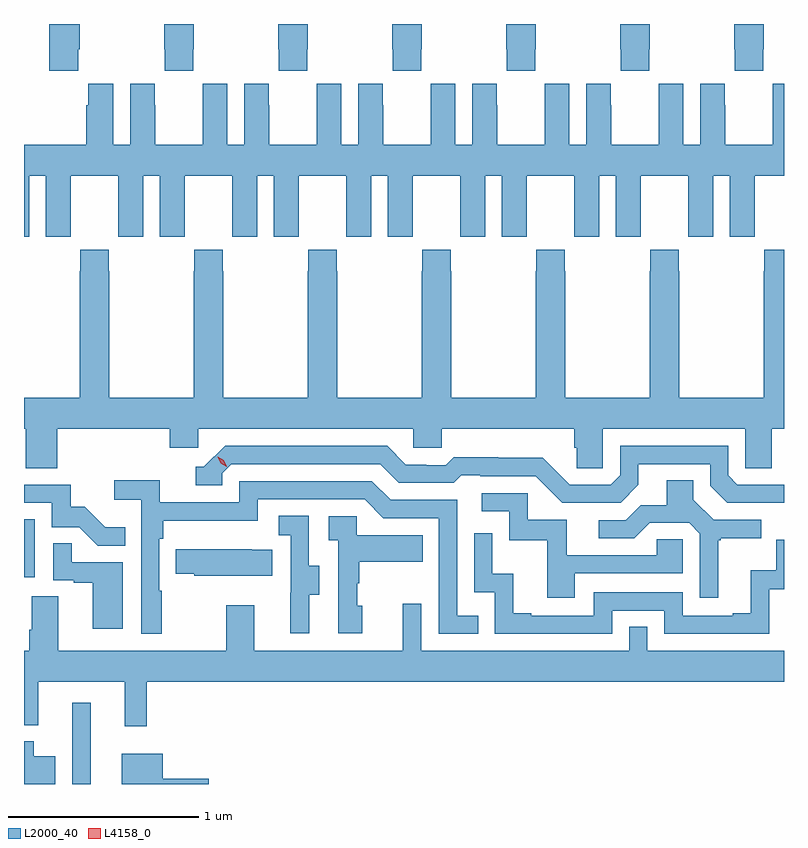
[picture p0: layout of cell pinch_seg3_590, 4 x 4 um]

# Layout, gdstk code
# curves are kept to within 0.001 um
import gdstk
lib = gdstk.Library(unit=1e-6, precision=1e-09)
def R(c, l, rs):  # rectangles x0, y0, x1, y1
    for r in rs: c.add(gdstk.rectangle(r[:2], r[2:], *l))
def P(c, l, *ps):  # polygons
    for p in ps: c.add(gdstk.Polygon(p, *l))
L2000_40 = (2000, 40)
L4158_0 = (4158, 0)

pinch_seg3_590 = lib.new_cell('pinch_seg3_590')
R(pinch_seg3_590, L2000_40, [(1077.435,691.055,1077.532,691.483), (1077.181,692.142,1077.238,692.449)])
P(pinch_seg3_590, L2000_40, [(1081.071,694.921),(1081.074,694.921),(1081.074,695.055),(1080.919,695.055),(1080.919,694.921),(1080.921,694.921),(1080.921,694.809),(1081.071,694.809)],
  [(1080.471,694.921),(1080.474,694.921),(1080.474,695.055),(1080.319,695.055),(1080.319,694.921),(1080.321,694.921),(1080.321,694.809),(1080.471,694.809)],
  [(1079.871,694.921),(1079.874,694.921),(1079.874,695.055),(1079.719,695.055),(1079.719,694.921),(1079.721,694.921),(1079.721,694.809),(1079.871,694.809)],
  [(1079.271,694.921),(1079.274,694.921),(1079.274,695.055),(1079.119,695.055),(1079.119,694.921),(1079.121,694.921),(1079.121,694.809),(1079.271,694.809)],
  [(1078.671,694.921),(1078.674,694.921),(1078.674,695.055),(1078.519,695.055),(1078.519,694.921),(1078.521,694.921),(1078.521,694.809),(1078.671,694.809)],
  [(1078.071,694.921),(1078.074,694.921),(1078.074,695.055),(1077.919,695.055),(1077.919,694.921),(1077.921,694.921),(1077.921,694.809),(1078.071,694.809)],
  [(1077.467,694.921),(1077.474,694.921),(1077.474,695.055),(1077.314,695.055),(1077.314,694.809),(1077.467,694.809)],
  [(1077.181,693.936),(1077.208,693.936),(1077.208,694.256),(1077.296,694.256),(1077.296,693.936),(1077.426,693.936),(1077.426,694.048),(1077.427,694.048),(1077.427,694.256),(1077.677,694.256),(1077.677,694.048),(1077.678,694.048),(1077.678,693.936),(1077.808,693.936),(1077.808,694.256),(1077.896,694.256),(1077.896,693.936),(1078.026,693.936),(1078.026,694.048),(1078.027,694.048),(1078.027,694.256),(1078.277,694.256),(1078.277,694.048),(1078.278,694.048),(1078.278,693.936),(1078.408,693.936),(1078.408,694.256),(1078.496,694.256),(1078.496,693.936),(1078.626,693.936),(1078.626,694.048),(1078.627,694.048),(1078.627,694.256),(1078.877,694.256),(1078.877,694.048),(1078.878,694.048),(1078.878,693.936),(1079.008,693.936),(1079.008,694.256),(1079.096,694.256),(1079.096,693.936),(1079.226,693.936),(1079.226,694.048),(1079.227,694.048),(1079.227,694.256),(1079.477,694.256),(1079.477,694.048),(1079.478,694.048),(1079.478,693.936),(1079.608,693.936),(1079.608,694.256),(1079.696,694.256),(1079.696,693.936),(1079.826,693.936),(1079.826,694.048),(1079.827,694.048),(1079.827,694.256),(1080.077,694.256),(1080.077,694.048),(1080.078,694.048),(1080.078,693.936),(1080.208,693.936),(1080.208,694.256),(1080.296,694.256),(1080.296,693.936),(1080.426,693.936),(1080.426,694.048),(1080.427,694.048),(1080.427,694.256),(1080.677,694.256),(1080.677,694.048),(1080.678,694.048),(1080.678,693.936),(1080.808,693.936),(1080.808,694.256),(1080.896,694.256),(1080.896,693.936),(1081.026,693.936),(1081.026,694.048),(1081.027,694.048),(1081.027,694.256),(1081.181,694.256),(1081.181,694.741),(1081.122,694.741),(1081.122,694.628),(1081.121,694.628),(1081.121,694.42),(1080.871,694.42),(1080.871,694.628),(1080.87,694.628),(1080.87,694.741),(1080.74,694.741),(1080.74,694.42),(1080.652,694.42),(1080.652,694.741),(1080.522,694.741),(1080.522,694.628),(1080.521,694.628),(1080.521,694.42),(1080.271,694.42),(1080.271,694.628),(1080.27,694.628),(1080.27,694.741),(1080.14,694.741),(1080.14,694.42),(1080.052,694.42),(1080.052,694.741),(1079.922,694.741),(1079.922,694.628),(1079.921,694.628),(1079.921,694.42),(1079.671,694.42),(1079.671,694.628),(1079.67,694.628),(1079.67,694.741),(1079.54,694.741),(1079.54,694.42),(1079.452,694.42),(1079.452,694.741),(1079.322,694.741),(1079.322,694.628),(1079.321,694.628),(1079.321,694.42),(1079.071,694.42),(1079.071,694.628),(1079.07,694.628),(1079.07,694.741),(1078.94,694.741),(1078.94,694.42),(1078.852,694.42),(1078.852,694.741),(1078.722,694.741),(1078.722,694.628),(1078.721,694.628),(1078.721,694.42),(1078.471,694.42),(1078.471,694.628),(1078.47,694.628),(1078.47,694.741),(1078.34,694.741),(1078.34,694.42),(1078.252,694.42),(1078.252,694.741),(1078.122,694.741),(1078.122,694.628),(1078.121,694.628),(1078.121,694.42),(1077.871,694.42),(1077.871,694.628),(1077.87,694.628),(1077.87,694.741),(1077.74,694.741),(1077.74,694.42),(1077.652,694.42),(1077.652,694.741),(1077.518,694.741),(1077.518,694.628),(1077.509,694.628),(1077.509,694.42),(1077.181,694.42)],
  [(1077.356,692.924),(1077.947,692.924),(1077.947,692.826),(1078.098,692.826),(1078.098,692.924),(1079.229,692.924),(1079.229,692.826),(1079.379,692.826),(1079.379,692.924),(1080.077,692.924),(1080.077,692.826),(1080.091,692.826),(1080.091,692.716),(1080.228,692.716),(1080.228,692.924),(1080.978,692.924),(1080.978,692.716),(1081.117,692.716),(1081.117,692.924),(1081.181,692.924),(1081.181,693.868),(1081.077,693.868),(1081.077,693.755),(1081.075,693.755),(1081.075,693.088),(1080.63,693.088),(1080.63,693.755),(1080.627,693.755),(1080.627,693.868),(1080.477,693.868),(1080.477,693.755),(1080.475,693.755),(1080.475,693.088),(1080.03,693.088),(1080.03,693.755),(1080.027,693.755),(1080.027,693.868),(1079.877,693.868),(1079.877,693.755),(1079.875,693.755),(1079.875,693.088),(1079.43,693.088),(1079.43,693.755),(1079.427,693.755),(1079.427,693.868),(1079.277,693.868),(1079.277,693.755),(1079.275,693.755),(1079.275,693.088),(1078.83,693.088),(1078.83,693.755),(1078.827,693.755),(1078.827,693.868),(1078.677,693.868),(1078.677,693.755),(1078.675,693.755),(1078.675,693.088),(1078.23,693.088),(1078.23,693.755),(1078.227,693.755),(1078.227,693.868),(1078.077,693.868),(1078.077,693.755),(1078.075,693.755),(1078.075,693.088),(1077.63,693.088),(1077.63,693.755),(1077.627,693.755),(1077.627,693.868),(1077.477,693.868),(1077.477,693.755),(1077.475,693.755),(1077.475,693.088),(1077.181,693.088),(1077.181,692.924),(1077.191,692.924),(1077.191,692.716),(1077.356,692.716)],
  [(1081.181,692.631),(1080.936,692.631),(1080.888,692.679),(1080.888,692.835),(1080.318,692.835),(1080.318,692.679),(1080.27,692.631),(1080.054,692.631),(1079.912,692.773),(1079.676,692.773),(1079.676,692.776),(1079.443,692.776),(1079.401,692.733),(1079.298,692.733),(1079.298,692.736),(1079.191,692.736),(1079.092,692.835),(1078.239,692.835),(1078.128,692.724),(1078.085,692.724),(1078.085,692.628),(1078.224,692.628),(1078.224,692.691),(1078.272,692.739),(1079.055,692.739),(1079.154,692.64),(1079.443,692.64),(1079.482,692.679),(1079.581,692.679),(1079.581,692.676),(1079.874,692.676),(1080.015,692.535),(1080.321,692.535),(1080.415,692.629),(1080.415,692.739),(1080.792,692.739),(1080.792,692.625),(1080.882,692.535),(1081.181,692.534)],
  [(1077.907,692.072),(1077.894,692.072),(1077.894,692.345),(1077.914,692.345),(1077.914,692.441),(1078.41,692.441),(1078.41,692.553),(1078.974,692.553),(1079.073,692.454),(1079.364,692.454),(1079.364,691.845),(1079.573,691.845),(1079.573,691.941),(1079.46,691.941),(1079.46,692.55),(1079.11,692.55),(1079.011,692.649),(1078.314,692.649),(1078.314,692.538),(1077.896,692.538),(1077.896,692.654),(1077.657,692.654),(1077.657,692.552),(1077.798,692.552),(1077.798,691.845),(1077.907,691.845)],
  [(1080.835,692.337),(1080.847,692.337),(1080.847,692.348),(1081.06,692.348),(1081.06,692.445),(1080.81,692.445),(1080.703,692.552),(1080.703,692.654),(1080.563,692.654),(1080.563,692.522),(1080.428,692.522),(1080.348,692.442),(1080.207,692.442),(1080.207,692.349),(1080.394,692.349),(1080.475,692.43),(1080.681,692.43),(1080.738,692.373),(1080.738,692.034),(1080.835,692.034)],
  [(1077.713,692.407),(1077.609,692.407),(1077.502,692.514),(1077.426,692.514),(1077.426,692.631),(1077.181,692.631),(1077.181,692.535),(1077.327,692.535),(1077.327,692.406),(1077.471,692.406),(1077.569,692.308),(1077.713,692.308)],
  [(1080.079,692.163),(1080.648,692.163),(1080.648,692.343),(1080.511,692.343),(1080.511,692.259),(1080.037,692.259),(1080.037,692.445),(1079.832,692.445),(1079.832,692.586),(1079.589,692.586),(1079.589,692.49),(1079.736,692.49),(1079.736,692.337),(1079.935,692.337),(1079.935,692.034),(1080.079,692.034)],
  [(1078.681,692.05),(1078.735,692.05),(1078.735,692.205),(1078.68,692.205),(1078.68,692.468),(1078.521,692.468),(1078.521,692.365),(1078.584,692.365),(1078.584,692.061),(1078.583,692.061),(1078.583,691.848),(1078.681,691.848)],
  [(1078.96,691.992),(1078.935,691.992),(1078.935,692.111),(1078.945,692.111),(1078.945,692.225),(1079.279,692.225),(1079.279,692.365),(1078.932,692.365),(1078.932,692.463),(1078.785,692.463),(1078.785,692.339),(1078.836,692.339),(1078.836,691.848),(1078.96,691.848)],
  [(1080.276,691.968),(1080.552,691.968),(1080.552,691.845),(1081.104,691.845),(1081.104,692.081),(1081.181,692.081),(1081.181,692.34),(1081.14,692.34),(1081.14,692.179),(1081.007,692.179),(1081.007,691.954),(1080.911,691.954),(1080.911,691.941),(1080.648,691.941),(1080.648,692.064),(1080.18,692.064),(1080.18,691.941),(1079.851,691.941),(1079.851,691.954),(1079.756,691.954),(1079.756,692.162),(1079.646,692.162),(1079.646,692.374),(1079.55,692.374),(1079.55,692.064),(1079.658,692.064),(1079.658,691.845),(1080.276,691.845)],
  [(1077.7,692.223),(1077.431,692.223),(1077.431,692.321),(1077.336,692.321),(1077.336,692.127),(1077.443,692.127),(1077.443,692.115),(1077.542,692.115),(1077.542,691.872),(1077.7,691.872)],
  [(1078.487,692.287),(1078.379,692.287),(1078.379,692.29),(1077.979,692.29),(1077.979,692.161),(1078.077,692.161),(1078.077,692.15),(1078.487,692.15)],
  [(1077.827,691.592),(1081.181,691.592),(1081.181,691.756),(1080.462,691.756),(1080.462,691.883),(1080.366,691.883),(1080.366,691.756),(1079.271,691.756),(1079.271,692.005),(1079.174,692.005),(1079.174,691.756),(1078.393,691.756),(1078.393,691.996),(1078.246,691.996),(1078.246,691.756),(1077.361,691.756),(1077.361,692.042),(1077.221,692.042),(1077.221,691.868),(1077.209,691.868),(1077.209,691.756),(1077.181,691.756),(1077.181,691.364),(1077.257,691.364),(1077.257,691.592),(1077.71,691.592),(1077.71,691.359),(1077.827,691.359)],
  [(1077.346,691.201),(1077.232,691.201),(1077.232,691.279),(1077.181,691.279),(1077.181,691.055),(1077.346,691.055)],
  [(1078.153,691.082),(1077.91,691.082),(1077.91,691.213),(1077.695,691.213),(1077.695,691.055),(1078.153,691.055)])
P(pinch_seg3_590, L4158_0, [(1078.247,692.725),(1078.216,692.744),(1078.201,692.777),(1078.201,692.777),(1078.201,692.777),(1078.232,692.758),(1078.247,692.725),(1078.247,692.725)])

lib.write_gds('pinch_seg3_590.gds')
